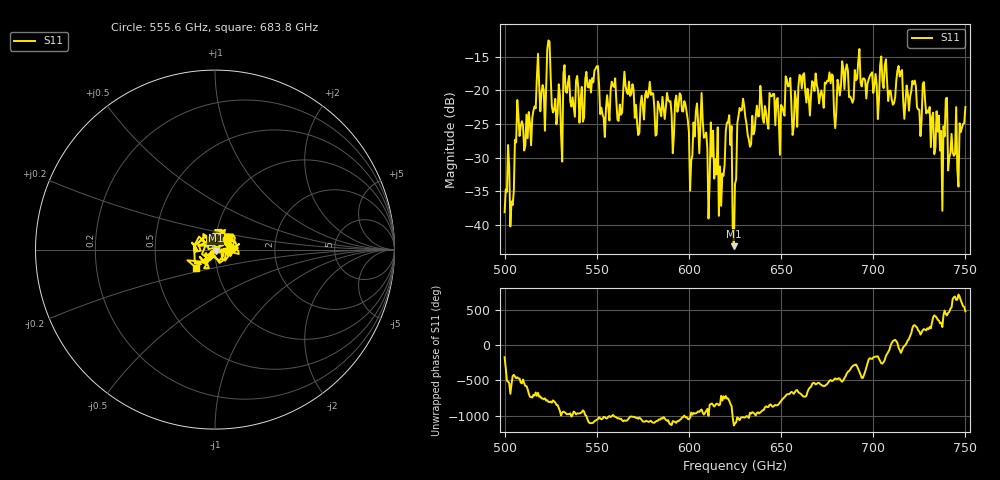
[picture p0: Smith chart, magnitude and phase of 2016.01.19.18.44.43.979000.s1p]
!Created with skrf (http://scikit-rf.org).
# GHz S RI R 50.0
!freq ReS11 ImS11
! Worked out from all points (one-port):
!   401 points, 500 GHz to 750 GHz, reference 50 ohm
!   lowest |S11| = -43.1 dB at 624.4 GHz (marker M1), VSWR 1.01, Z = 50.4 - j0.604 ohm
!   |S11| at or under -10 dB: start of sweep to end of sweep
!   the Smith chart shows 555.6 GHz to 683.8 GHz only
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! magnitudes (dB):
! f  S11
! 500 GHz  -38.1
! 504.4 GHz  -37.0
! 506.9 GHz  -21.4
! 520.6 GHz  -19.2
! 523.8 GHz  -12.6
! 526.9 GHz  -22.8
! 531.2 GHz  -30.6
! 549.4 GHz  -16.8
! 553.1 GHz  -23.6
! 558.8 GHz  -19.3
! 562.5 GHz  -22.1
! 593.8 GHz  -23.2
! 600.6 GHz  -34.9
! 608.1 GHz  -27.0
! 617.5 GHz  -37.1
! 621.9 GHz  -23.7
! 624.4 GHz  -43.1
! 625 GHz  -33.9
! 628.8 GHz  -22.9
! 632.5 GHz  -27.3
! 645 GHz  -20.9
! 650.6 GHz  -22.4
! 653.8 GHz  -19.4
! 656.2 GHz  -26.6
! 687.5 GHz  -20.9
! 718.8 GHz  -20.4
! 741.9 GHz  -29.3
! 750 GHz  -22.5
